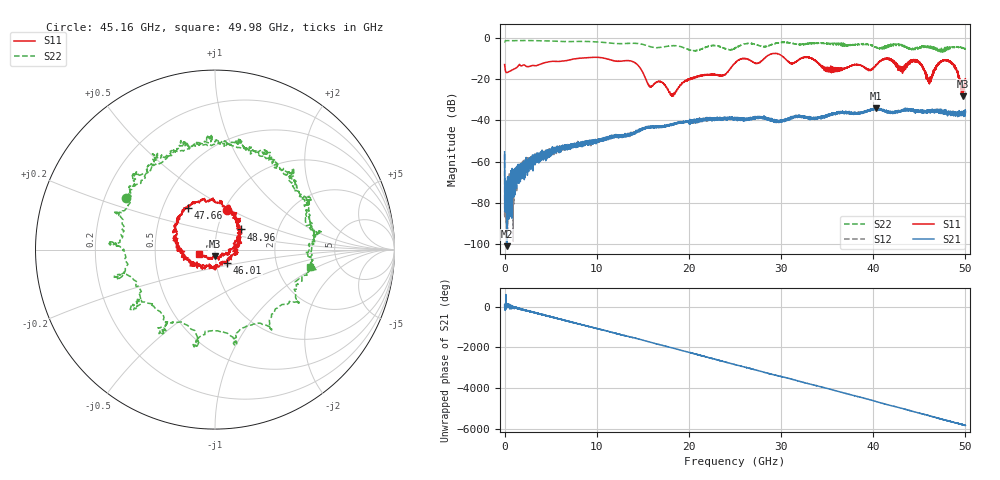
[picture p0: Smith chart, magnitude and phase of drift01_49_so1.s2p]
!Created with skrf (http://scikit-rf.org).
# Hz S RI R 50.0
!freq ReS11 ImS11 ReS21 ImS21 ReS12 ImS12 ReS22 ImS22
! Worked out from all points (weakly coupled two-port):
!   10001 points, 300 kHz to 50 GHz, reference 50 ohm
!   highest |S21| = -34.07 dB at 40.28 GHz (marker M1); lowest = -100.9 dB at 230.3 MHz (marker M2)
!   lowest |S11| = -28.4 dB at 49.72 GHz (marker M3), VSWR 1.08, Z = 49.7 - j3.77 ohm
!   |S11| at or under -10 dB: start of sweep to 8.07 GHz; 10.89 GHz to 25.83 GHz (14.94 GHz wide, 81.4 % of centre); 41.76 GHz to end of sweep (the widest 3 of 21)
!   |S22| runs from -7.1 to -1.4 dB; largest |S21 - S12| = 0.0044
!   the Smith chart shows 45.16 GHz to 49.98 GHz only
!   S11 on the Smith chart (normalised r, x): 45.16 GHz: 1.03, +0.48; 46.01 GHz: 1.13, -0.17; 47.66 GHz: 0.67, +0.34; 48.96 GHz: 1.30, +0.30; 49.98 GHz: 0.83, -0.04
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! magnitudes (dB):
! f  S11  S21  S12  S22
! 300 kHz  -13.0  -55.2  -56.5  -2.1
! 230.3 MHz  -16.9  -100.9  -74.6  -1.4
! 2.96 GHz  -13.5  -59.1  -58.3  -1.4
! 8.335 GHz  -9.9  -52.1  -51.0  -1.8
! 13.8 GHz  -11.4  -47.1  -46.6  -2.8
! 15.73 GHz  -23.6  -43.3  -43.2  -4.3
! 16.67 GHz  -21.2  -43.3  -43.0  -4.8
! 18.25 GHz  -27.4  -41.9  -41.7  -3.9
! 25 GHz  -12.2  -39.7  -39.0  -5.2
! 29.24 GHz  -7.6  -40.2  -40.0  -3.0
! 33.34 GHz  -10.1  -39.1  -38.9  -2.6
! 35.09 GHz  -14.4  -37.7  -37.6  -2.8
! 40.28 GHz  -13.4  -34.1  -34.5  -4.5
! 41.67 GHz  -10.6  -35.4  -36.1  -4.4
! 43.06 GHz  -14.4  -35.4  -35.2  -3.4
! 45.16 GHz  -12.7  -35.6  -35.8  -4.9
! 46.01 GHz  -19.8  -35.9  -35.3  -4.6
! 47.66 GHz  -11.2  -35.6  -36.3  -6.7
! 48.96 GHz  -14.8  -36.6  -37.0  -4.7
! 49.72 GHz  -28.4  -37.2  -36.5  -5.2
! 49.98 GHz  -20.5  -35.9  -36.4  -5.4
! 50 GHz  -20.9  -35.6  -36.8  -5.5
